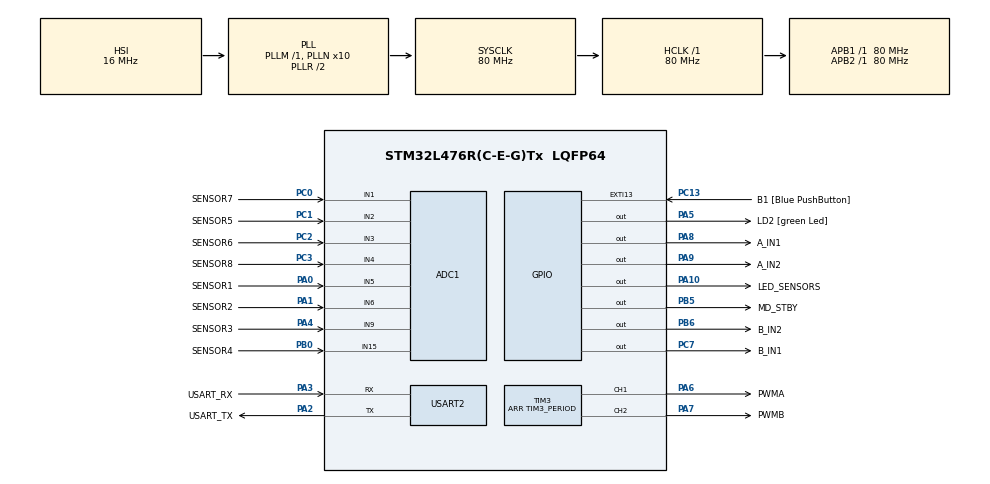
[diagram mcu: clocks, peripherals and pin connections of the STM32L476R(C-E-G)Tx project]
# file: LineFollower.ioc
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ADC1.Channel-1\#ChannelRegularConversion=ADC_CHANNEL_1
ADC1.Channel-2\#ChannelRegularConversion=ADC_CHANNEL_2
ADC1.Channel-3\#ChannelRegularConversion=ADC_CHANNEL_3
ADC1.Channel-4\#ChannelRegularConversion=ADC_CHANNEL_4
ADC1.Channel-5\#ChannelRegularConversion=ADC_CHANNEL_5
ADC1.Channel-6\#ChannelRegularConversion=ADC_CHANNEL_6
ADC1.Channel-7\#ChannelRegularConversion=ADC_CHANNEL_9
ADC1.Channel-8\#ChannelRegularConversion=ADC_CHANNEL_15
ADC1.ClockPrescaler=ADC_CLOCK_ASYNC_DIV10
ADC1.ContinuousConvMode=DISABLE
ADC1.DMAContinuousRequests=ENABLE
ADC1.DiscontinuousConvMode=DISABLE
ADC1.EOCSelection=ADC_EOC_SINGLE_CONV
ADC1.ExternalTrigConv=ADC_EXTERNALTRIG_T6_TRGO
ADC1.NbrOfConversion=8
ADC1.NbrOfConversionFlag=1
ADC1.OffsetNumber-1\#ChannelRegularConversion=ADC_OFFSET_NONE
ADC1.OffsetNumber-2\#ChannelRegularConversion=ADC_OFFSET_NONE
ADC1.OffsetNumber-3\#ChannelRegularConversion=ADC_OFFSET_NONE
ADC1.OffsetNumber-4\#ChannelRegularConversion=ADC_OFFSET_NONE
ADC1.OffsetNumber-5\#ChannelRegularConversion=ADC_OFFSET_NONE
ADC1.OffsetNumber-6\#ChannelRegularConversion=ADC_OFFSET_NONE
ADC1.OffsetNumber-7\#ChannelRegularConversion=ADC_OFFSET_NONE
ADC1.OffsetNumber-8\#ChannelRegularConversion=ADC_OFFSET_NONE
ADC1.Rank-1\#ChannelRegularConversion=1
ADC1.Rank-2\#ChannelRegularConversion=2
ADC1.Rank-3\#ChannelRegularConversion=3
ADC1.Rank-4\#ChannelRegularConversion=4
ADC1.Rank-5\#ChannelRegularConversion=5
ADC1.Rank-6\#ChannelRegularConversion=6
ADC1.Rank-7\#ChannelRegularConversion=7
ADC1.Rank-8\#ChannelRegularConversion=8
ADC1.SamplingTime-1\#ChannelRegularConversion=ADC_SAMPLETIME_640CYCLES_5
ADC1.SamplingTime-2\#ChannelRegularConversion=ADC_SAMPLETIME_640CYCLES_5
ADC1.SamplingTime-3\#ChannelRegularConversion=ADC_SAMPLETIME_640CYCLES_5
ADC1.SamplingTime-4\#ChannelRegularConversion=ADC_SAMPLETIME_640CYCLES_5
ADC1.SamplingTime-5\#ChannelRegularConversion=ADC_SAMPLETIME_640CYCLES_5
ADC1.SamplingTime-6\#ChannelRegularConversion=ADC_SAMPLETIME_640CYCLES_5
ADC1.SamplingTime-7\#ChannelRegularConversion=ADC_SAMPLETIME_640CYCLES_5
ADC1.SamplingTime-8\#ChannelRegularConversion=ADC_SAMPLETIME_640CYCLES_5
ADC1.master=1
Dma.ADC1.0.Direction=DMA_PERIPH_TO_MEMORY
Dma.ADC1.0.Instance=DMA1_Channel1
Dma.ADC1.0.MemDataAlignment=DMA_MDATAALIGN_HALFWORD
Dma.ADC1.0.MemInc=DMA_MINC_ENABLE
Dma.ADC1.0.Mode=DMA_CIRCULAR
Dma.ADC1.0.PeriphDataAlignment=DMA_PDATAALIGN_HALFWORD
Dma.ADC1.0.PeriphInc=DMA_PINC_DISABLE
Dma.ADC1.0.Priority=DMA_PRIORITY_LOW
Dma.Request0=ADC1
Mcu.Family=STM32L4
Mcu.Name=STM32L476R(C-E-G)Tx
Mcu.Package=LQFP64
Mcu.UserConstants=TIM3_PRESCALER,3;TIM3_PERIOD,999
NVIC.DMA1_Channel1_IRQn=true\:0\:0\:false\:false\:true\:false\:true
NVIC.PriorityGroup=NVIC_PRIORITYGROUP_4
PA0.GPIO_Label=SENSOR1
PA0.Signal=ADCx_IN5
PA1.GPIO_Label=SENSOR2
PA1.Signal=ADCx_IN6
PA10.GPIO_Label=LED_SENSORS
PA10.Signal=GPIO_Output
PA13\ (JTMS-SWDIO).GPIO_Label=TMS
PA13\ (JTMS-SWDIO).Mode=Serial_Wire
PA13\ (JTMS-SWDIO).Signal=SYS_JTMS-SWDIO
PA14\ (JTCK-SWCLK).GPIO_Label=TCK
PA14\ (JTCK-SWCLK).Mode=Serial_Wire
PA14\ (JTCK-SWCLK).Signal=SYS_JTCK-SWCLK
PA2.GPIO_Label=USART_TX
PA2.GPIO_Mode=GPIO_MODE_AF_PP
PA2.GPIO_PuPd=GPIO_NOPULL
PA2.GPIO_Speed=GPIO_SPEED_FREQ_VERY_HIGH
PA2.Mode=Asynchronous
PA2.Signal=USART2_TX
PA3.GPIO_Label=USART_RX
PA3.GPIO_Mode=GPIO_MODE_AF_PP
PA3.GPIO_PuPd=GPIO_NOPULL
PA3.GPIO_Speed=GPIO_SPEED_FREQ_VERY_HIGH
PA3.Mode=Asynchronous
PA3.Signal=USART2_RX
PA4.GPIO_Label=SENSOR3
PA4.Signal=ADCx_IN9
PA5.GPIO_Label=LD2 [green Led]
PA5.GPIO_ModeDefaultOutputPP=GPIO_MODE_OUTPUT_PP
PA5.GPIO_PuPd=GPIO_NOPULL
PA5.GPIO_Speed=GPIO_SPEED_FREQ_LOW
PA5.Signal=GPIO_Output
PA6.GPIO_Label=PWMA
PA6.Signal=S_TIM3_CH1
PA7.GPIO_Label=PWMB
PA7.Signal=S_TIM3_CH2
PA8.GPIO_Label=A_IN1
PA8.Signal=GPIO_Output
PA9.GPIO_Label=A_IN2
PA9.Signal=GPIO_Output
PB0.GPIO_Label=SENSOR4
PB0.Signal=ADCx_IN15
PB3\ (JTDO-TRACESWO).GPIO_Label=SWO
PB3\ (JTDO-TRACESWO).Signal=SYS_JTDO-SWO
PB5.GPIO_Label=MD_STBY
PB5.Signal=GPIO_Output
PB6.GPIO_Label=B_IN2
PB6.Signal=GPIO_Output
PC0.GPIO_Label=SENSOR7
PC0.Signal=ADCx_IN1
PC1.GPIO_Label=SENSOR5
PC1.Signal=ADCx_IN2
PC13.GPIO_Label=B1 [Blue PushButton]
PC13.GPIO_ModeDefaultEXTI=GPIO_MODE_IT_FALLING
PC13.GPIO_PuPd=GPIO_NOPULL
PC13.Signal=GPXTI13
PC14-OSC32_IN\ (PC14).Mode=LSE-External-Oscillator
PC14-OSC32_IN\ (PC14).Signal=RCC_OSC32_IN
PC15-OSC32_OUT\ (PC15).Mode=LSE-External-Oscillator
PC15-OSC32_OUT\ (PC15).Signal=RCC_OSC32_OUT
PC2.GPIO_Label=SENSOR6
PC2.Signal=ADCx_IN3
PC3.GPIO_Label=SENSOR8
PC3.Signal=ADCx_IN4
PC7.GPIO_Label=B_IN1
PC7.Signal=GPIO_Output
PH0-OSC_IN\ (PH0).Signal=RCC_OSC_IN
PH1-OSC_OUT\ (PH1).Signal=RCC_OSC_OUT
ProjectManager.HeapSize=0x200
ProjectManager.StackSize=0x400
ProjectManager.TargetToolchain=STM32CubeIDE
RCC.ADCFreq_Value=64000000
RCC.AHBFreq_Value=80000000
RCC.APB1Freq_Value=80000000
RCC.APB1TimFreq_Value=80000000
RCC.APB2Freq_Value=80000000
RCC.APB2TimFreq_Value=80000000
RCC.CortexFreq_Value=80000000
RCC.HCLKFreq_Value=80000000
RCC.HSE_VALUE=8000000
RCC.HSI_VALUE=16000000
RCC.MSI_VALUE=4000000
RCC.PLLN=10
RCC.PLLSourceVirtual=RCC_PLLSOURCE_HSI
RCC.PREFETCH_ENABLE=1
RCC.SYSCLKFreq_VALUE=80000000
RCC.SYSCLKSource=RCC_SYSCLKSOURCE_PLLCLK
RCC.USBFreq_Value=64000000
RCC.VCOOutputFreq_Value=160000000
SH.ADCx_IN1.0=ADC1_IN1,IN1-Single-Ended
SH.ADCx_IN15.0=ADC1_IN15,IN15-Single-Ended
SH.ADCx_IN2.0=ADC1_IN2,IN2-Single-Ended
SH.ADCx_IN3.0=ADC1_IN3,IN3-Single-Ended
SH.ADCx_IN4.0=ADC1_IN4,IN4-Single-Ended
SH.ADCx_IN5.0=ADC1_IN5,IN5-Single-Ended
SH.ADCx_IN6.0=ADC1_IN6,IN6-Single-Ended
SH.ADCx_IN9.0=ADC1_IN9,IN9-Single-Ended
SH.S_TIM3_CH1.0=TIM3_CH1,PWM Generation1 CH1
SH.S_TIM3_CH2.0=TIM3_CH2,PWM Generation2 CH2
TIM3.Channel-PWM\ Generation1\ CH1=TIM_CHANNEL_1
TIM3.Channel-PWM\ Generation2\ CH2=TIM_CHANNEL_2
TIM3.Period=TIM3_PERIOD
TIM3.Prescaler=TIM3_PRESCALER
TIM6.Period=9
TIM6.Prescaler=7999
TIM6.TIM_MasterOutputTrigger=TIM_TRGO_UPDATE
USART2.VirtualMode-Asynchronous=VM_ASYNC
VP_TIM3_VS_ClockSourceINT.Mode=Internal
VP_TIM6_VS_ClockSourceINT.Mode=Enable_Timer
board=NUCLEO-L476RG

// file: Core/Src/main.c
/* USER CODE BEGIN Header */
/**
  ******************************************************************************
  * @file           : main.c
  * @brief          : Main program body
  ******************************************************************************
  * @attention
  *
  * <h2><center>&copy; Copyright (c) 2025 STMicroelectronics.
  * All rights reserved.</center></h2>
  *
  * This software component is licensed by ST under BSD 3-Clause license,
  * the "License"; You may not use this file except in compliance with the
  * License. You may obtain a copy of the License at:
  *                        opensource.org/licenses/BSD-3-Clause
  *
  ******************************************************************************
  */
/* USER CODE END Header */
#include "main.h"

/* USER CODE BEGIN Includes */
#include "pid.h"
/* USER CODE END Includes */

ADC_HandleTypeDef hadc1;
DMA_HandleTypeDef hdma_adc1;

TIM_HandleTypeDef htim3;
TIM_HandleTypeDef htim6;

UART_HandleTypeDef huart2;

void SystemClock_Config(void);
static void MX_GPIO_Init(void);
static void MX_DMA_Init(void);
static void MX_USART2_UART_Init(void);
static void MX_ADC1_Init(void);
static void MX_TIM3_Init(void);
static void MX_TIM6_Init(void);

/* USER CODE BEGIN 0 */
uint16_t adc_results[8];
int ADC_flag;

cpid_t pid;

const int weights[8] = {40 , 30, 20, 10, -10, -20, -30, -40};

int base_speed = 500;
int max_speed = 799;

int32_t motor_l = 0;
int32_t motor_r = 0;
int32_t u = 0;

float Kp = 15.0f;
float Ki = 0.1f;
float Kd = 10.0f;
/* USER CODE END 0 */

int main(void)
{

  /* MCU Configuration--------------------------------------------------------*/

  /* Reset of all peripherals, Initializes the Flash interface and the Systick. */
  HAL_Init();

  /* Configure the system clock */
  SystemClock_Config();

  /* Initialize all configured peripherals */
  MX_GPIO_Init();
  MX_DMA_Init();
  MX_USART2_UART_Init();
  MX_ADC1_Init();
  MX_TIM3_Init();
  MX_TIM6_Init();
  /* USER CODE BEGIN 2 */

  // 1. Włączenie czujnika linii
  HAL_GPIO_WritePin(LED_SENSORS_GPIO_Port, LED_SENSORS_Pin, GPIO_PIN_SET);
  HAL_Delay(20);

  // 2. Start pomiarów z czujnika
  HAL_ADC_Start_DMA(&hadc1, (uint32_t*)adc_results, 8);

  // 3. Ustawienie kierunku silników
  HAL_GPIO_WritePin(A_IN1_GPIO_Port, A_IN1_Pin, GPIO_PIN_RESET);
  HAL_GPIO_WritePin(A_IN2_GPIO_Port, A_IN2_Pin, GPIO_PIN_SET);
  HAL_GPIO_WritePin(B_IN1_GPIO_Port, B_IN1_Pin, GPIO_PIN_SET);
  HAL_GPIO_WritePin(B_IN2_GPIO_Port, B_IN2_Pin, GPIO_PIN_RESET);

  // 4. Włączenie silników
  HAL_GPIO_WritePin(MD_STBY_GPIO_Port, MD_STBY_Pin, GPIO_PIN_SET);

  // 5. PWM dla silników
  __HAL_TIM_SET_COMPARE(&htim3, TIM_CHANNEL_1, 0);
  __HAL_TIM_SET_COMPARE(&htim3, TIM_CHANNEL_2, 0);
  HAL_TIM_PWM_Start(&htim3, TIM_CHANNEL_1);
  HAL_TIM_PWM_Start(&htim3, TIM_CHANNEL_2);

  // 6. Naciśnięcie przycisku odpala robota
  while(HAL_GPIO_ReadPin(B1_GPIO_Port, B1_Pin) == GPIO_PIN_SET)
    {
        HAL_GPIO_TogglePin(LD2_GPIO_Port, LD2_Pin);
        HAL_Delay(100);
    }

  HAL_GPIO_WritePin(LD2_GPIO_Port, LD2_Pin, GPIO_PIN_SET);
  HAL_Delay(1000);

  pid_init(&pid, Kp, Ki, Kd, 10, 1);

  pid.total_max = pid_scale(&pid, 500.0f);
  pid.total_min = pid_scale(&pid, -500.0f);

  HAL_TIM_Base_Start(&htim6);

  /* USER CODE END 2 */

  /* Infinite loop */
  /* USER CODE BEGIN WHILE */

  // A - lewy
  // B - prawy
  // 1 - tył
  // 2 - przód

  while (1)
    {
	  ADC_flag = 1;
      if (ADC_flag == 1)
      {
        ADC_flag = 0;

        int32_t numerator = 0;
        int32_t denominator = 0;

        for (int i = 0; i < 8; i++)
        {
          if (adc_results[i] > 500)
          {
            numerator += weights[i];
            denominator++;
          }
        }

        if (denominator == 8) {
        	motor_l = 0;
        	motor_r = 0;
        }
        else if (denominator > 0)
        {
          int32_t error = numerator / denominator;

          u = pid_calc(&pid, error, 0);

          motor_l = base_speed - u;
          motor_r = base_speed + u;
        }
        else
        {
          if (pid.e_last > 0)
          {
            motor_l = 0;
            motor_r = max_speed;
          }
          else if (pid.e_last < 0)
          {
            motor_l = max_speed;
            motor_r = 0;
          }
        }

        if (motor_l > max_speed) motor_l = max_speed;
        if (motor_l < 0)         motor_l = 0;
        if (motor_r > max_speed) motor_r = max_speed;
        if (motor_r < 0)         motor_r = 0;

        __HAL_TIM_SET_COMPARE(&htim3, TIM_CHANNEL_1, (uint16_t)motor_r);
        __HAL_TIM_SET_COMPARE(&htim3, TIM_CHANNEL_2, (uint16_t)motor_l);
      }
    /* USER CODE END WHILE */

    }
}
void SystemClock_Config(void)
{
  RCC_OscInitTypeDef RCC_OscInitStruct = {0};
  RCC_ClkInitTypeDef RCC_ClkInitStruct = {0};
  RCC_PeriphCLKInitTypeDef PeriphClkInit = {0};

  /** Initializes the RCC Oscillators according to the specified parameters
  * in the RCC_OscInitTypeDef structure.
  */
  RCC_OscInitStruct.OscillatorType = RCC_OSCILLATORTYPE_HSI;
  RCC_OscInitStruct.HSIState = RCC_HSI_ON;
  RCC_OscInitStruct.HSICalibrationValue = RCC_HSICALIBRATION_DEFAULT;
  RCC_OscInitStruct.PLL.PLLState = RCC_PLL_ON;
  RCC_OscInitStruct.PLL.PLLSource = RCC_PLLSOURCE_HSI;
  RCC_OscInitStruct.PLL.PLLM = 1;
  RCC_OscInitStruct.PLL.PLLN = 10;
  RCC_OscInitStruct.PLL.PLLP = RCC_PLLP_DIV7;
  RCC_OscInitStruct.PLL.PLLQ = RCC_PLLQ_DIV2;
  RCC_OscInitStruct.PLL.PLLR = RCC_PLLR_DIV2;
  if (HAL_RCC_OscConfig(&RCC_OscInitStruct) != HAL_OK)
  {
    Error_Handler();
  }
  /** Initializes the CPU, AHB and APB buses clocks
  */
  RCC_ClkInitStruct.ClockType = RCC_CLOCKTYPE_HCLK|RCC_CLOCKTYPE_SYSCLK
                              |RCC_CLOCKTYPE_PCLK1|RCC_CLOCKTYPE_PCLK2;
  RCC_ClkInitStruct.SYSCLKSource = RCC_SYSCLKSOURCE_PLLCLK;
  RCC_ClkInitStruct.AHBCLKDivider = RCC_SYSCLK_DIV1;
  RCC_ClkInitStruct.APB1CLKDivider = RCC_HCLK_DIV1;
  RCC_ClkInitStruct.APB2CLKDivider = RCC_HCLK_DIV1;

  if (HAL_RCC_ClockConfig(&RCC_ClkInitStruct, FLASH_LATENCY_4) != HAL_OK)
  {
    Error_Handler();
  }
  PeriphClkInit.PeriphClockSelection = RCC_PERIPHCLK_USART2|RCC_PERIPHCLK_ADC;
  PeriphClkInit.Usart2ClockSelection = RCC_USART2CLKSOURCE_PCLK1;
  PeriphClkInit.AdcClockSelection = RCC_ADCCLKSOURCE_PLLSAI1;
  PeriphClkInit.PLLSAI1.PLLSAI1Source = RCC_PLLSOURCE_HSI;
  PeriphClkInit.PLLSAI1.PLLSAI1M = 1;
  PeriphClkInit.PLLSAI1.PLLSAI1N = 8;
  PeriphClkInit.PLLSAI1.PLLSAI1P = RCC_PLLP_DIV7;
  PeriphClkInit.PLLSAI1.PLLSAI1Q = RCC_PLLQ_DIV2;
  PeriphClkInit.PLLSAI1.PLLSAI1R = RCC_PLLR_DIV2;
  PeriphClkInit.PLLSAI1.PLLSAI1ClockOut = RCC_PLLSAI1_ADC1CLK;
  if (HAL_RCCEx_PeriphCLKConfig(&PeriphClkInit) != HAL_OK)
  {
    Error_Handler();
  }
  /** Configure the main internal regulator output voltage
  */
  if (HAL_PWREx_ControlVoltageScaling(PWR_REGULATOR_VOLTAGE_SCALE1) != HAL_OK)
  {
    Error_Handler();
  }
}

static void MX_ADC1_Init(void)
{

  ADC_MultiModeTypeDef multimode = {0};
  ADC_ChannelConfTypeDef sConfig = {0};

  /** Common config
  */
  hadc1.Instance = ADC1;
  hadc1.Init.ClockPrescaler = ADC_CLOCK_ASYNC_DIV10;
  hadc1.Init.Resolution = ADC_RESOLUTION_12B;
  hadc1.Init.DataAlign = ADC_DATAALIGN_RIGHT;
  hadc1.Init.ScanConvMode = ADC_SCAN_ENABLE;
  hadc1.Init.EOCSelection = ADC_EOC_SINGLE_CONV;
  hadc1.Init.LowPowerAutoWait = DISABLE;
  hadc1.Init.ContinuousConvMode = DISABLE;
  hadc1.Init.NbrOfConversion = 8;
  hadc1.Init.DiscontinuousConvMode = DISABLE;
  hadc1.Init.ExternalTrigConv = ADC_EXTERNALTRIG_T6_TRGO;
  hadc1.Init.ExternalTrigConvEdge = ADC_EXTERNALTRIGCONVEDGE_RISING;
  hadc1.Init.DMAContinuousRequests = ENABLE;
  hadc1.Init.Overrun = ADC_OVR_DATA_PRESERVED;
  hadc1.Init.OversamplingMode = DISABLE;
  if (HAL_ADC_Init(&hadc1) != HAL_OK)
  {
    Error_Handler();
  }
  /** Configure the ADC multi-mode
  */
  multimode.Mode = ADC_MODE_INDEPENDENT;
  if (HAL_ADCEx_MultiModeConfigChannel(&hadc1, &multimode) != HAL_OK)
  {
    Error_Handler();
  }
  /** Configure Regular Channel
  */
  sConfig.Channel = ADC_CHANNEL_1;
  sConfig.Rank = ADC_REGULAR_RANK_1;
  sConfig.SamplingTime = ADC_SAMPLETIME_640CYCLES_5;
  sConfig.SingleDiff = ADC_SINGLE_ENDED;
  sConfig.OffsetNumber = ADC_OFFSET_NONE;
  sConfig.Offset = 0;
  if (HAL_ADC_ConfigChannel(&hadc1, &sConfig) != HAL_OK)
  {
    Error_Handler();
  }
  /** Configure Regular Channel
  */
  sConfig.Channel = ADC_CHANNEL_2;
  sConfig.Rank = ADC_REGULAR_RANK_2;
  if (HAL_ADC_ConfigChannel(&hadc1, &sConfig) != HAL_OK)
  {
    Error_Handler();
  }
  /** Configure Regular Channel
  */
  sConfig.Channel = ADC_CHANNEL_3;
  sConfig.Rank = ADC_REGULAR_RANK_3;
  if (HAL_ADC_ConfigChannel(&hadc1, &sConfig) != HAL_OK)
  {
    Error_Handler();
  }
  /** Configure Regular Channel
  */
  sConfig.Channel = ADC_CHANNEL_4;
  sConfig.Rank = ADC_REGULAR_RANK_4;
  if (HAL_ADC_ConfigChannel(&hadc1, &sConfig) != HAL_OK)
  {
    Error_Handler();
  }
  /** Configure Regular Channel
  */
  sConfig.Channel = ADC_CHANNEL_5;
  sConfig.Rank = ADC_REGULAR_RANK_5;
  if (HAL_ADC_ConfigChannel(&hadc1, &sConfig) != HAL_OK)
  {
    Error_Handler();
  }
  /** Configure Regular Channel
  */
  sConfig.Channel = ADC_CHANNEL_6;
  sConfig.Rank = ADC_REGULAR_RANK_6;
  if (HAL_ADC_ConfigChannel(&hadc1, &sConfig) != HAL_OK)
  {
    Error_Handler();
  }
  /** Configure Regular Channel
  */
  sConfig.Channel = ADC_CHANNEL_9;
  sConfig.Rank = ADC_REGULAR_RANK_7;
  if (HAL_ADC_ConfigChannel(&hadc1, &sConfig) != HAL_OK)
  {
    Error_Handler();
  }
  /** Configure Regular Channel
  */
  sConfig.Channel = ADC_CHANNEL_15;
  sConfig.Rank = ADC_REGULAR_RANK_8;
  if (HAL_ADC_ConfigChannel(&hadc1, &sConfig) != HAL_OK)
  {
    Error_Handler();
  }

}

static void MX_TIM3_Init(void)
{

  TIM_ClockConfigTypeDef sClockSourceConfig = {0};
  TIM_MasterConfigTypeDef sMasterConfig = {0};
  TIM_OC_InitTypeDef sConfigOC = {0};

  htim3.Instance = TIM3;
  htim3.Init.Prescaler = TIM3_PRESCALER;
  htim3.Init.CounterMode = TIM_COUNTERMODE_UP;
  htim3.Init.Period = TIM3_PERIOD;
  htim3.Init.ClockDivision = TIM_CLOCKDIVISION_DIV1;
  htim3.Init.AutoReloadPreload = TIM_AUTORELOAD_PRELOAD_DISABLE;
  if (HAL_TIM_Base_Init(&htim3) != HAL_OK)
  {
    Error_Handler();
  }
  sClockSourceConfig.ClockSource = TIM_CLOCKSOURCE_INTERNAL;
  if (HAL_TIM_ConfigClockSource(&htim3, &sClockSourceConfig) != HAL_OK)
  {
    Error_Handler();
  }
  if (HAL_TIM_PWM_Init(&htim3) != HAL_OK)
  {
    Error_Handler();
  }
  sMasterConfig.MasterOutputTrigger = TIM_TRGO_RESET;
  sMasterConfig.MasterSlaveMode = TIM_MASTERSLAVEMODE_DISABLE;
  if (HAL_TIMEx_MasterConfigSynchronization(&htim3, &sMasterConfig) != HAL_OK)
  {
    Error_Handler();
  }
  sConfigOC.OCMode = TIM_OCMODE_PWM1;
  sConfigOC.Pulse = 0;
  sConfigOC.OCPolarity = TIM_OCPOLARITY_HIGH;
  sConfigOC.OCFastMode = TIM_OCFAST_DISABLE;
  if (HAL_TIM_PWM_ConfigChannel(&htim3, &sConfigOC, TIM_CHANNEL_1) != HAL_OK)
  {
    Error_Handler();
  }
  if (HAL_TIM_PWM_ConfigChannel(&htim3, &sConfigOC, TIM_CHANNEL_2) != HAL_OK)
  {
    Error_Handler();
  }
  HAL_TIM_MspPostInit(&htim3);

}

static void MX_TIM6_Init(void)
{

  TIM_MasterConfigTypeDef sMasterConfig = {0};

  htim6.Instance = TIM6;
  htim6.Init.Prescaler = 7999;
  htim6.Init.CounterMode = TIM_COUNTERMODE_UP;
  htim6.Init.Period = 9;
  htim6.Init.AutoReloadPreload = TIM_AUTORELOAD_PRELOAD_DISABLE;
  if (HAL_TIM_Base_Init(&htim6) != HAL_OK)
  {
    Error_Handler();
  }
  sMasterConfig.MasterOutputTrigger = TIM_TRGO_UPDATE;
  sMasterConfig.MasterSlaveMode = TIM_MASTERSLAVEMODE_DISABLE;
  if (HAL_TIMEx_MasterConfigSynchronization(&htim6, &sMasterConfig) != HAL_OK)
  {
    Error_Handler();
  }

}

static void MX_USART2_UART_Init(void)
{

  huart2.Instance = USART2;
  huart2.Init.BaudRate = 115200;
  huart2.Init.WordLength = UART_WORDLENGTH_8B;
  huart2.Init.StopBits = UART_STOPBITS_1;
  huart2.Init.Parity = UART_PARITY_NONE;
  huart2.Init.Mode = UART_MODE_TX_RX;
  huart2.Init.HwFlowCtl = UART_HWCONTROL_NONE;
  huart2.Init.OverSampling = UART_OVERSAMPLING_16;
  huart2.Init.OneBitSampling = UART_ONE_BIT_SAMPLE_DISABLE;
  huart2.AdvancedInit.AdvFeatureInit = UART_ADVFEATURE_NO_INIT;
  if (HAL_UART_Init(&huart2) != HAL_OK)
  {
    Error_Handler();
  }

}

static void MX_DMA_Init(void)
{

  /* DMA controller clock enable */
  __HAL_RCC_DMA1_CLK_ENABLE();

  /* DMA interrupt init */
  /* DMA1_Channel1_IRQn interrupt configuration */
  HAL_NVIC_SetPriority(DMA1_Channel1_IRQn, 0, 0);
  HAL_NVIC_EnableIRQ(DMA1_Channel1_IRQn);

}

static void MX_GPIO_Init(void)
{
  GPIO_InitTypeDef GPIO_InitStruct = {0};

  /* GPIO Ports Clock Enable */
  __HAL_RCC_GPIOC_CLK_ENABLE();
  __HAL_RCC_GPIOH_CLK_ENABLE();
  __HAL_RCC_GPIOA_CLK_ENABLE();
  __HAL_RCC_GPIOB_CLK_ENABLE();

  /*Configure GPIO pin Output Level */
  HAL_GPIO_WritePin(GPIOA, LD2_Pin|A_IN1_Pin|A_IN2_Pin|LED_SENSORS_Pin, GPIO_PIN_RESET);

  /*Configure GPIO pin Output Level */
  HAL_GPIO_WritePin(B_IN1_GPIO_Port, B_IN1_Pin, GPIO_PIN_RESET);

  /*Configure GPIO pin Output Level */
  HAL_GPIO_WritePin(GPIOB, MD_STBY_Pin|B_IN2_Pin, GPIO_PIN_RESET);

  /*Configure GPIO pin : B1_Pin */
  GPIO_InitStruct.Pin = B1_Pin;
  GPIO_InitStruct.Mode = GPIO_MODE_IT_FALLING;
  GPIO_InitStruct.Pull = GPIO_NOPULL;
  HAL_GPIO_Init(B1_GPIO_Port, &GPIO_InitStruct);

  /*Configure GPIO pins : LD2_Pin A_IN1_Pin A_IN2_Pin LED_SENSORS_Pin */
  GPIO_InitStruct.Pin = LD2_Pin|A_IN1_Pin|A_IN2_Pin|LED_SENSORS_Pin;
  GPIO_InitStruct.Mode = GPIO_MODE_OUTPUT_PP;
  GPIO_InitStruct.Pull = GPIO_NOPULL;
  GPIO_InitStruct.Speed = GPIO_SPEED_FREQ_LOW;
  HAL_GPIO_Init(GPIOA, &GPIO_InitStruct);

  /*Configure GPIO pin : B_IN1_Pin */
  GPIO_InitStruct.Pin = B_IN1_Pin;
  GPIO_InitStruct.Mode = GPIO_MODE_OUTPUT_PP;
  GPIO_InitStruct.Pull = GPIO_NOPULL;
  GPIO_InitStruct.Speed = GPIO_SPEED_FREQ_LOW;
  HAL_GPIO_Init(B_IN1_GPIO_Port, &GPIO_InitStruct);

  /*Configure GPIO pins : MD_STBY_Pin B_IN2_Pin */
  GPIO_InitStruct.Pin = MD_STBY_Pin|B_IN2_Pin;
  GPIO_InitStruct.Mode = GPIO_MODE_OUTPUT_PP;
  GPIO_InitStruct.Pull = GPIO_NOPULL;
  GPIO_InitStruct.Speed = GPIO_SPEED_FREQ_LOW;
  HAL_GPIO_Init(GPIOB, &GPIO_InitStruct);

}

/* USER CODE BEGIN 4 */
void HAL_ADC_ConvCpltCallback(ADC_HandleTypeDef* hadc)
{
    if (hadc->Instance == ADC1)
    {
        ADC_flag = 1;
    }
}

int _write(int file, char *ptr, int len) {
	HAL_UART_Transmit(&huart2, (uint8_t*)ptr, len, 50);
	return len;
}
/* USER CODE END 4 */

void Error_Handler(void)
{
}

/************************ (C) COPYRIGHT STMicroelectronics *****END OF FILE****/
